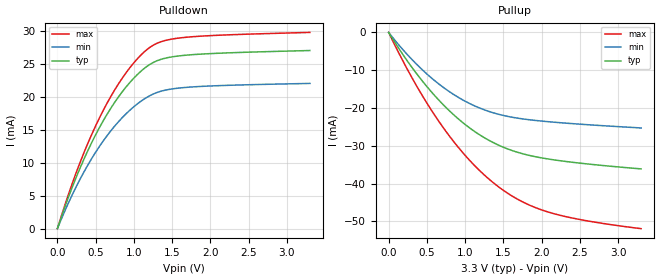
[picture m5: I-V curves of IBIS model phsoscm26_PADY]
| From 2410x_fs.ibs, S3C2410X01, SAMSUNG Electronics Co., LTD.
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[Model] phsoscm26_PADY
 Model_type  Output
 Polarity   Non-Inverting
 Enable   Active-High
|variable   typ   min   max
 C_comp   2pF   2pF   2pF
|variable   typ   min   max
[Temperature Range]   25.0   0   70
|variable   typ   min   max
[Voltage Range]   3.3V   3.0V   3.6V
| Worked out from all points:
|   slope of the pulldown table from 0 to 0.495 V, typ, clamps not added: 35.1 ohm
|   slope of the pullup table from 0 to 0.495 V, typ, clamps not added: 34.8 ohm
[Pullup]
|  voltage   I(typ)   I(min)   I(max)
0V        10.72uA    6.528uA    15.69uA
150mV     -4.76mA    -3.704mA   -6.125mA
350mV     -10.49mA   -8.1mA     -13.61mA
500mV     -14.33mA   -10.99mA   -18.7mA
700mV     -18.84mA   -14.31mA   -24.8mA
850mV     -21.79mA   -16.42mA   -28.88mA
1.05V     -25.13mA   -18.72mA   -33.66mA
1.4V      -29.47mA   -21.45mA   -40.28mA
1.75V     -32.09mA   -22.87mA   -44.82mA
2.1V      -33.53mA   -23.64mA   -47.61mA
2.6V      -34.8mA    -24.41mA   -49.87mA
3.3V      -36.1mA    -25.28mA   -51.92mA
[Pulldown]
|  voltage   I(typ)   I(min)   I(max)
0V        -10.72uA   -7.188uA   -15.39uA
150mV     4.928mA    4.028mA    5.371mA
300mV     9.275mA    7.568mA    10.13mA
450mV     13.07mA    10.65mA    14.31mA
600mV     16.35mA    13.3mA     17.93mA
750mV     19.15mA    15.55mA    21.04mA
900mV     21.5mA     17.42mA    23.66mA
1.05V     23.4mA     18.94mA    25.79mA
1.2V      24.82mA    20.09mA    27.39mA
1.4V      25.8mA     20.95mA    28.48mA
1.65V     26.25mA    21.37mA    28.96mA
3.3V      26.99mA    22mA       29.73mA
[Ramp]
| variable   typ   min   max
dV/dt_r  1.8610E+00/5.0570E-10   1.6618E+00/6.7461E-10   2.0585E+00/3.9031E-10
dV/dt_f  1.8644E+00/5.6596E-10   1.6720E+00/6.5701E-10   2.0437E+00/5.4303E-10
R_load = 500ohms
